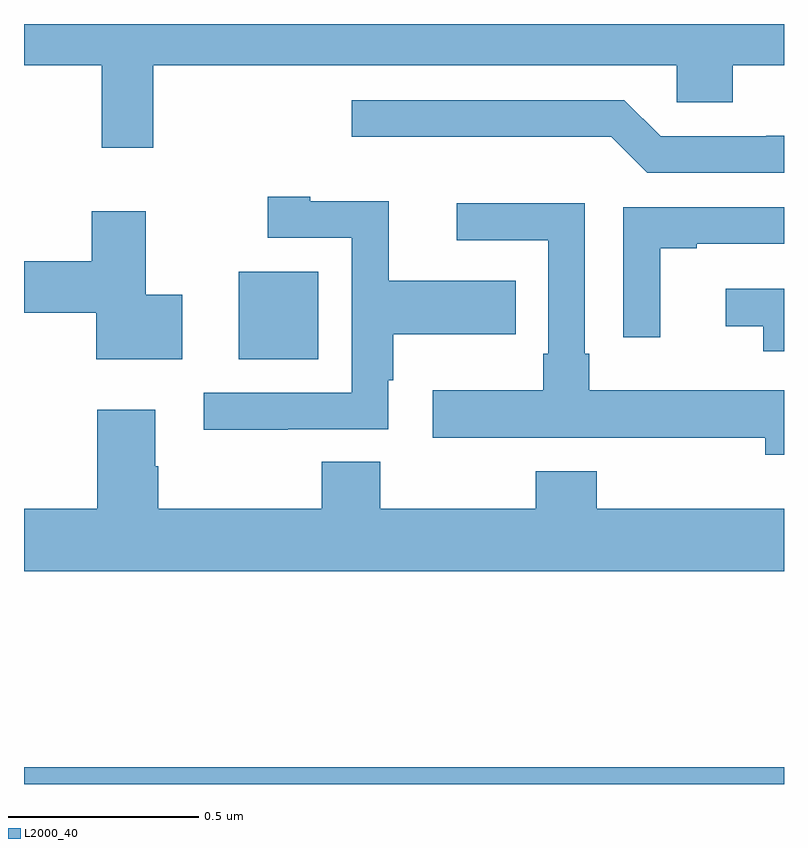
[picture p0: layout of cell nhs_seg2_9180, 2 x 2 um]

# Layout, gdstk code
import gdstk
lib = gdstk.Library(unit=1e-6, precision=1e-09)
def R(c, l, rs):  # rectangles x0, y0, x1, y1
    for r in rs: c.add(gdstk.rectangle(r[:2], r[2:], *l))
def P(c, l, *ps):  # polygons
    for p in ps: c.add(gdstk.Polygon(p, *l))
L2000_40 = (2000, 40)

nhs_seg2_9180 = lib.new_cell('nhs_seg2_9180')
R(nhs_seg2_9180, L2000_40, [(226,589.8,228,589.844), (226.565,590.918,226.774,591.148)])
P(nhs_seg2_9180, L2000_40, [(226.34,591.692),(227.718,591.692),(227.718,591.594),(227.865,591.594),(227.865,591.692),(228,591.692),(228,591.8),(226,591.8),(226,591.692),(226.204,591.692),(226.204,591.474),(226.34,591.474)],
  [(228,591.506),(227.953,591.506),(227.953,591.504),(227.676,591.504),(227.58,591.6),(226.863,591.6),(226.863,591.503),(227.545,591.503),(227.64,591.408),(228,591.408)],
  [(226.694,590.733),(226.959,590.733),(226.959,590.862),(226.972,590.862),(226.972,590.984),(227.294,590.984),(227.294,591.124),(226.96,591.124),(226.96,591.334),(226.753,591.334),(226.753,591.346),(226.641,591.346),(226.641,591.237),(226.863,591.237),(226.863,590.829),(226.473,590.829),(226.473,590.732),(226.694,590.732)],
  [(228,590.836),(227.488,590.836),(227.488,590.932),(227.475,590.932),(227.475,591.328),(227.139,591.328),(227.139,591.231),(227.379,591.231),(227.379,590.932),(227.367,590.932),(227.367,590.836),(227.076,590.836),(227.076,590.711),(227.951,590.711),(227.951,590.666),(228,590.666)],
  [(227.674,591.21),(227.77,591.21),(227.77,591.222),(228,591.222),(228,591.318),(227.577,591.318),(227.577,590.976),(227.674,590.976)],
  [(226.417,591.088),(226.32,591.088),(226.32,591.307),(226.178,591.307),(226.178,591.176),(226,591.176),(226,591.04),(226.19,591.04),(226.19,590.918),(226.417,590.918)],
  [(228,591.103),(227.847,591.103),(227.847,591.005),(227.945,591.005),(227.945,590.939),(228,590.939)],
  [(228,590.524),(227.507,590.524),(227.507,590.623),(227.347,590.623),(227.347,590.524),(226.938,590.524),(226.938,590.648),(226.783,590.648),(226.783,590.524),(226.353,590.524),(226.353,590.636),(226.345,590.636),(226.345,590.785),(226.193,590.785),(226.193,590.524),(226,590.524),(226,590.36),(228,590.36)])

lib.write_gds('nhs_seg2_9180.gds')
